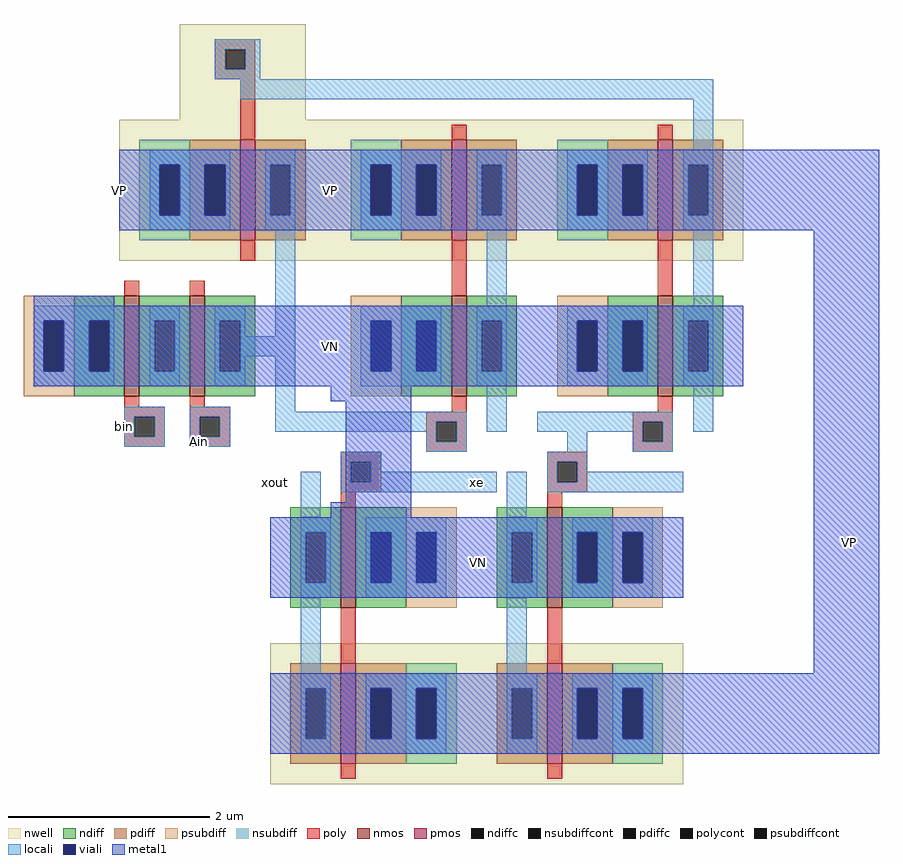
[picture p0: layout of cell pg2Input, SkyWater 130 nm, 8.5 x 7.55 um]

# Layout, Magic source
magic
tech sky130A
<< nwell >>
rect -155 325 -30 420
rect -215 185 -5 325
<< nmos >>
rect -210 50 -195 150
rect -145 50 -130 150
<< pmos >>
rect -95 205 -80 305
<< ndiff >>
rect -260 125 -210 150
rect -260 75 -245 125
rect -225 75 -210 125
rect -260 50 -210 75
rect -195 125 -145 150
rect -195 75 -180 125
rect -160 75 -145 125
rect -195 50 -145 75
rect -130 125 -80 150
rect -130 75 -115 125
rect -95 75 -80 125
rect -130 50 -80 75
<< pdiff >>
rect -145 280 -95 305
rect -145 230 -130 280
rect -110 230 -95 280
rect -145 205 -95 230
rect -80 280 -30 305
rect -80 230 -65 280
rect -45 230 -30 280
rect -80 205 -30 230
<< ndiffc >>
rect -245 75 -225 125
rect -180 75 -160 125
rect -115 75 -95 125
<< pdiffc >>
rect -130 230 -110 280
rect -65 230 -45 280
<< psubdiff >>
rect -310 125 -260 150
rect -310 75 -290 125
rect -270 75 -260 125
rect -310 50 -260 75
<< nsubdiff >>
rect -195 280 -145 305
rect -195 230 -175 280
rect -155 230 -145 280
rect -195 205 -145 230
<< psubdiffcont >>
rect -290 75 -270 125
<< nsubdiffcont >>
rect -175 230 -155 280
<< poly >>
rect -120 395 -80 405
rect -120 375 -110 395
rect -90 375 -80 395
rect -120 365 -80 375
rect -95 305 -80 365
rect -95 185 -80 205
rect -210 150 -195 165
rect -145 150 -130 165
rect -210 40 -195 50
rect -145 40 -130 50
rect -210 30 -170 40
rect -210 10 -200 30
rect -180 10 -170 30
rect -210 0 -170 10
rect -145 30 -105 40
rect -145 10 -135 30
rect -115 10 -105 30
rect -145 0 -105 10
<< polycont >>
rect -110 375 -90 395
rect -200 10 -180 30
rect -135 10 -115 30
<< locali >>
rect -120 395 -75 405
rect -120 375 -110 395
rect -90 375 -75 395
rect -120 365 -75 375
rect -95 345 375 365
rect 355 295 375 345
rect -185 280 -105 295
rect -185 230 -175 280
rect -155 230 -130 280
rect -110 230 -105 280
rect -185 215 -105 230
rect -70 280 -40 295
rect -70 230 -65 280
rect -45 230 -40 280
rect -70 215 -40 230
rect -300 125 -220 140
rect -300 75 -290 125
rect -270 75 -245 125
rect -225 75 -220 125
rect -300 60 -220 75
rect -185 125 -155 140
rect -185 75 -180 125
rect -160 75 -155 125
rect -185 60 -155 75
rect -120 125 -90 140
rect -120 75 -115 125
rect -95 110 -90 125
rect -60 110 -40 215
rect -95 90 -40 110
rect -95 75 -90 90
rect -120 60 -90 75
rect -210 30 -170 40
rect -210 10 -200 30
rect -180 10 -170 30
rect -210 0 -170 10
rect -145 30 -105 40
rect -145 10 -135 30
rect -115 10 -105 30
rect -60 35 -40 90
rect -60 15 -5 35
rect 10 15 20 35
rect -145 0 -105 10
rect 230 -15 250 25
rect 140 -45 160 -25
<< viali >>
rect -175 230 -155 280
rect -130 230 -110 280
rect -290 75 -270 125
rect -245 75 -225 125
<< metal1 >>
rect -215 280 -5 295
rect -215 230 -175 280
rect -155 230 -130 280
rect -110 230 -5 280
rect -215 220 -5 230
rect -215 215 20 220
rect 405 215 540 295
rect -300 140 -220 150
rect -300 125 105 140
rect -300 75 -290 125
rect -270 75 -245 125
rect -225 75 105 125
rect -300 60 105 75
rect -5 45 75 60
rect 10 -55 75 45
rect -5 -70 75 -55
rect -5 -150 140 -70
rect 475 -225 540 215
rect 345 -305 540 -225
use inverter  inverter_1
transform 1 0 345 0 1 70
box -145 -75 60 255
use inverter  inverter_0
transform 1 0 140 0 1 70
box -145 -75 60 255
use inverter  inverter_2
transform -1 0 200 0 -1 -80
box -145 -75 60 255
use inverter  inverter_3
transform -1 0 -5 0 -1 -80
box -145 -75 60 255
<< labels >>
rlabel metal1 -5 255 -5 255 7 VP
rlabel locali 140 -35 140 -35 7 xe
rlabel metal1 -215 255 -215 255 7 VP
rlabel metal1 -5 100 -5 100 7 VN
rlabel space 142 -115 142 -115 7 VN
port 3 w
rlabel locali -135 5 -135 5 7 Ain
port 0 w
rlabel locali -210 20 -210 20 1 bin
port 1 n
rlabel locali -210 20 -210 20 7 Bin
port 2 w
rlabel space -65 -40 -55 -30 7 xout
port 4 w
rlabel metal1 510 -95 510 -95 7 VP
port 5 w
<< end >>

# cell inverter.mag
magic
tech sky130A
<< nwell >>
rect -145 115 60 255
<< nmos >>
rect -25 -20 -10 80
<< pmos >>
rect -25 135 -10 235
<< ndiff >>
rect -75 55 -25 80
rect -75 5 -60 55
rect -40 5 -25 55
rect -75 -20 -25 5
rect -10 55 40 80
rect -10 5 5 55
rect 25 5 40 55
rect -10 -20 40 5
<< pdiff >>
rect -75 210 -25 235
rect -75 160 -60 210
rect -40 160 -25 210
rect -75 135 -25 160
rect -10 210 40 235
rect -10 160 5 210
rect 25 160 40 210
rect -10 135 40 160
<< ndiffc >>
rect -60 5 -40 55
rect 5 5 25 55
<< pdiffc >>
rect -60 160 -40 210
rect 5 160 25 210
<< psubdiff >>
rect -125 55 -75 80
rect -125 5 -105 55
rect -85 5 -75 55
rect -125 -20 -75 5
<< nsubdiff >>
rect -125 210 -75 235
rect -125 160 -105 210
rect -85 160 -75 210
rect -125 135 -75 160
<< psubdiffcont >>
rect -105 5 -85 55
<< nsubdiffcont >>
rect -105 160 -85 210
<< poly >>
rect -25 235 -10 250
rect -25 80 -10 135
rect -25 -35 -10 -20
rect -50 -45 -10 -35
rect -50 -65 -40 -45
rect -20 -65 -10 -45
rect -50 -75 -10 -65
<< polycont >>
rect -40 -65 -20 -45
<< locali >>
rect -115 210 -35 225
rect -115 160 -105 210
rect -85 160 -60 210
rect -40 160 -35 210
rect -115 145 -35 160
rect 0 210 30 225
rect 0 160 5 210
rect 25 160 30 210
rect 0 145 30 160
rect 10 70 30 145
rect -115 55 -35 70
rect -115 5 -105 55
rect -85 5 -60 55
rect -40 5 -35 55
rect -115 -10 -35 5
rect 0 55 30 70
rect 0 5 5 55
rect 25 5 30 55
rect 0 -10 30 5
rect -145 -45 -10 -35
rect -145 -55 -40 -45
rect -50 -65 -40 -55
rect -20 -65 -10 -45
rect 10 -55 30 -10
rect -50 -75 -10 -65
<< viali >>
rect -105 160 -85 210
rect -60 160 -40 210
rect -105 5 -85 55
rect -60 5 -40 55
<< metal1 >>
rect -145 210 60 225
rect -145 160 -105 210
rect -85 160 -60 210
rect -40 160 60 210
rect -145 145 60 160
rect -145 55 60 70
rect -145 5 -105 55
rect -85 5 -60 55
rect -40 5 60 55
rect -145 -10 60 5
<< labels >>
rlabel locali -145 -45 -145 -45 7 A
port 1 w
rlabel locali 23 -33 23 -33 1 Y
port 2 n
rlabel metal1 -141 185 -141 185 3 VP
port 3 e
rlabel metal1 -138 26 -138 26 1 VN
port 4 n
<< end >>
